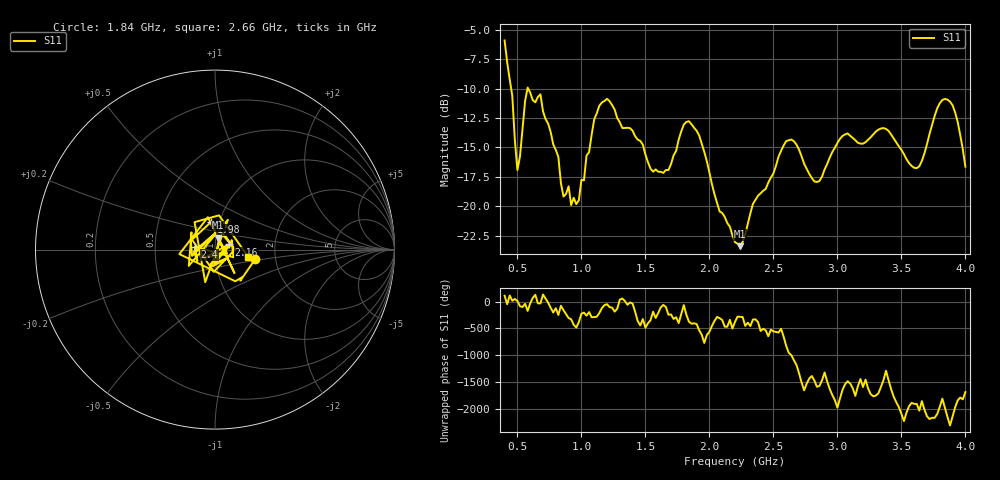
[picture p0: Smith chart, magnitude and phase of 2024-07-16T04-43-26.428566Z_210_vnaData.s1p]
!Created with skrf (http://scikit-rf.org).
# Hz S RI R 50.0
!freq ReS11 ImS11
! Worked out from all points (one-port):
!   181 points, 400 MHz to 4 GHz, reference 50 ohm
!   lowest |S11| = -23.4 dB at 2.24 GHz (marker M1), VSWR 1.15, Z = 51.2 + j6.77 ohm
!   |S11| at or under -10 dB: 451.1 MHz to 578.5 MHz (127.4 MHz wide, 24.7 % of centre); 584.1 MHz to end of sweep
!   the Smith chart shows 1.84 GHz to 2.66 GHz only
!   S11 on the Smith chart (normalised r, x): 1.84 GHz: 1.56, -0.18; 1.98 GHz: 0.91, +0.29; 2.16 GHz: 1.16, +0.07; 2.4 GHz: 0.80, +0.02; 2.66 GHz: 1.45, -0.12
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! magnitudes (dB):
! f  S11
! 400 MHz  -5.9
! 460 MHz  -10.6
! 500 MHz  -16.9
! 580 MHz  -9.9
! 680 MHz  -10.5
! 820 MHz  -15.8
! 860 MHz  -19.2
! 980 MHz  -19.5
! 1.14 GHz  -11.5
! 1.3 GHz  -12.9
! 1.56 GHz  -17.1
! 1.68 GHz  -16.9
! 1.76 GHz  -14.3
! 1.84 GHz  -12.8
! 1.98 GHz  -16.2
! 2.16 GHz  -21.7
! 2.2 GHz  -23.0
! 2.24 GHz  -23.4
! 2.4 GHz  -18.9
! 2.66 GHz  -14.5
! 2.84 GHz  -17.9
! 3.1 GHz  -14.0
! 3.38 GHz  -13.4
! 3.56 GHz  -16.3
! 3.64 GHz  -16.6
! 3.84 GHz  -10.9
! 3.92 GHz  -12.0
! 4 GHz  -16.6
